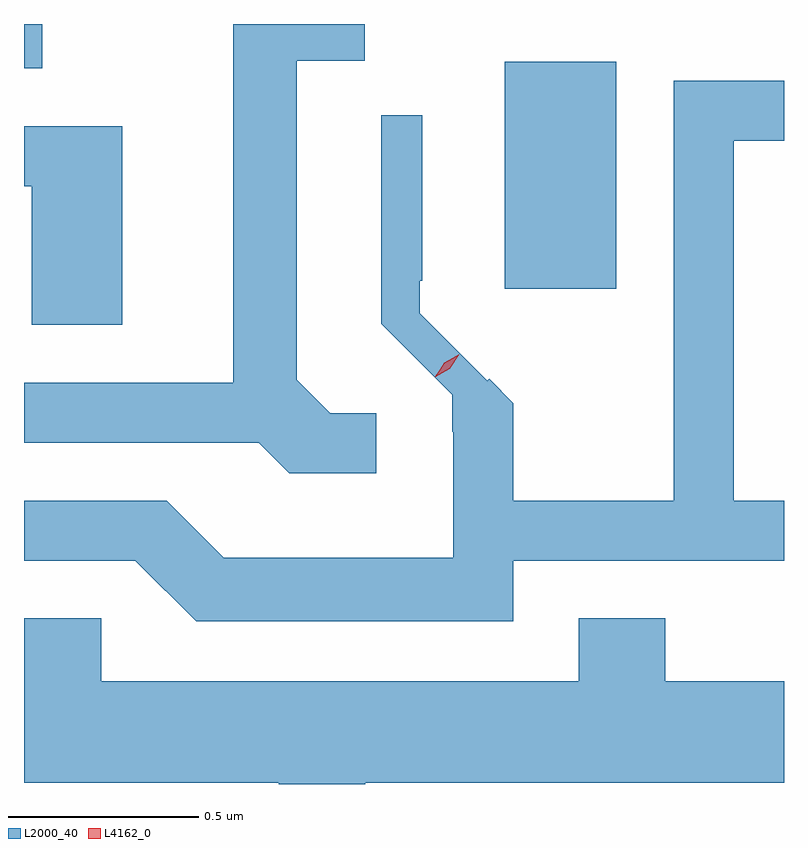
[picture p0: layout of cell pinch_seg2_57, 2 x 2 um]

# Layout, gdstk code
import gdstk
lib = gdstk.Library(unit=1e-6, precision=1e-09)
def R(c, l, rs):  # rectangles x0, y0, x1, y1
    for r in rs: c.add(gdstk.rectangle(r[:2], r[2:], *l))
def P(c, l, *ps):  # polygons
    for p in ps: c.add(gdstk.Polygon(p, *l))
L2000_40 = (2000, 40)
L4162_0 = (4162, 0)

pinch_seg2_57 = lib.new_cell('pinch_seg2_57')
R(pinch_seg2_57, L2000_40, [(1104.376,1102.896,1104.669,1103.494), (1103.111,1103.476,1103.159,1103.593)])
P(pinch_seg2_57, L2000_40, [(1104.038,1102.569),(1103.917,1102.569),(1103.829,1102.657),(1103.829,1103.496),(1104.008,1103.496),(1104.008,1103.593),(1103.661,1103.593),(1103.661,1102.649),(1103.111,1102.649),(1103.111,1102.491),(1103.729,1102.491),(1103.809,1102.411),(1104.038,1102.411)],
  [(1104.399,1102.181),(1105.111,1102.181),(1105.111,1102.339),(1104.979,1102.339),(1104.979,1103.286),(1105.111,1103.286),(1105.111,1103.444),(1104.821,1103.444),(1104.821,1102.339),(1104.399,1102.339),(1104.399,1102.595),(1104.335,1102.659),(1104.33,1102.654),(1104.152,1102.832),(1104.152,1102.918),(1104.159,1102.918),(1104.159,1103.353),(1104.051,1103.353),(1104.051,1102.804),(1104.238,1102.617),(1104.238,1102.52),(1104.241,1102.52),(1104.241,1102.189),(1103.637,1102.189),(1103.487,1102.339),(1103.111,1102.339),(1103.111,1102.181),(1103.404,1102.181),(1103.564,1102.021),(1104.399,1102.021)],
  [(1103.369,1103.324),(1103.111,1103.324),(1103.111,1103.166),(1103.131,1103.166),(1103.131,1102.801),(1103.369,1102.801)],
  [(1104.009,1101.596),(1105.111,1101.596),(1105.111,1101.864),(1104.799,1101.864),(1104.799,1102.029),(1104.571,1102.029),(1104.571,1101.864),(1103.314,1101.864),(1103.314,1102.029),(1103.111,1102.029),(1103.111,1101.596),(1103.781,1101.596),(1103.781,1101.593),(1104.009,1101.593)])
P(pinch_seg2_57, L4162_0, [(1104.192,1102.663),(1104.192,1102.664),(1104.218,1102.701),(1104.257,1102.724),(1104.257,1102.724),(1104.257,1102.724),(1104.231,1102.686),(1104.192,1102.663)],
  [(1104.196,1102.667),(1104.196,1102.668),(1104.217,1102.701),(1104.252,1102.721),(1104.253,1102.721),(1104.253,1102.72),(1104.231,1102.686),(1104.196,1102.667)])

lib.write_gds('pinch_seg2_57.gds')
